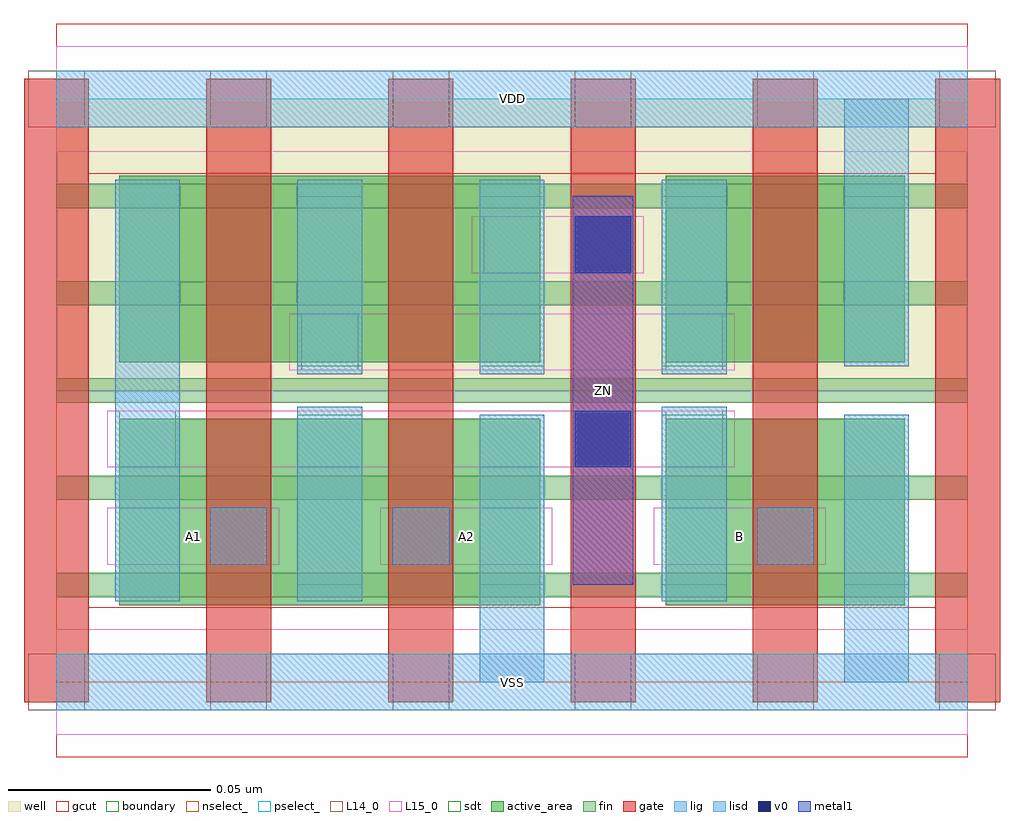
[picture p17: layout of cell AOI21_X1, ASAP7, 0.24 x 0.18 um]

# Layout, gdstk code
import gdstk
lib = gdstk.Library(unit=1e-6, precision=2.5e-10)
def R(c, l, rs):  # rectangles x0, y0, x1, y1
    for r in rs: c.add(gdstk.rectangle(r[:2], r[2:], *l))
def A(c, l, x, y, w, h, nx, ny, dx, dy):  # array of equal rectangles
    R(c, l, [(x+i*dx, y+j*dy, x+i*dx+w, y+j*dy+h) for i in range(nx) for j in range(ny)])
well = (1, 0)
fin = (2, 0)
gate = (7, 0)
gcut = (10, 0)
active_area = (11, 0)
nselect_ = (12, 0)
pselect_ = (13, 0)
L14_0 = (14, 0)
L15_0 = (15, 0)
lig = (16, 0)
lisd = (17, 0)
v0 = (18, 0)
metal1 = (19, 0)
sdt = (88, 0)
boundary = (100, 0)

aoi21_x1 = lib.new_cell('AOI21_X1')
R(aoi21_x1, well, [(0,0.072,0.225,0.144)])
A(aoi21_x1, fin, 0, 0.021, 0.225, 0.006, 1, 5, 0, 0.024)
A(aoi21_x1, gate, -0.008, -0.005, 0.016, 0.154, 6, 1, 0.045, 0)
R(aoi21_x1, gcut, [(0,-0.0185,0.225,0.0185), (-0.008,-0.005,0.008,0.149), (0.217,-0.005,0.233,0.149), (0,0.1255,0.225,0.1625)])
R(aoi21_x1, active_area, [(0.0155,0.019,0.0745,0.065), (0.0605,0.019,0.1195,0.065), (0.1505,0.019,0.2095,0.065), (0.0155,0.079,0.0745,0.125), (0.0605,0.079,0.1195,0.125), (0.1505,0.079,0.2095,0.125)])
R(aoi21_x1, nselect_, [(0,0,0.225,0.072)])
R(aoi21_x1, pselect_, [(0,0.072,0.225,0.144)])
A(aoi21_x1, L14_0, -0.007, -0.007, 0.014, 0.014, 6, 2, 0.045, 0.144)
R(aoi21_x1, L14_0, [(0.038,0.029,0.052,0.043), (0.083,0.029,0.097,0.043), (0.173,0.029,0.187,0.043), (0.0155,0.053,0.0295,0.067), (0.1505,0.053,0.1645,0.067), (0.0605,0.077,0.0745,0.091), (0.1505,0.077,0.1645,0.091), (0.1055,0.101,0.1195,0.115)])
A(aoi21_x1, L15_0, 0.0125, 0.029, 0.0425, 0.014, 3, 1, 0.0675, 0)
R(aoi21_x1, L15_0, [(0,-0.013,0.225,0.013), (0.0125,0.053,0.1675,0.067), (0.0575,0.077,0.1675,0.091), (0.1025,0.101,0.145,0.115), (0,0.131,0.225,0.157)])
R(aoi21_x1, lig, [(0,-0.007,0.225,0.007), (0.038,0.029,0.052,0.043), (0.083,0.029,0.097,0.043), (0.173,0.029,0.187,0.043), (0,0.137,0.225,0.151)])
A(aoi21_x1, lisd, 0.0595, 0.076, 0.016, 0.048, 3, 1, 0.045, 0)
R(aoi21_x1, lisd, [(0.1045,0,0.1205,0.066), (0.1945,0,0.2105,0.066), (0.0145,0.02,0.0305,0.124), (0.0595,0.02,0.0755,0.068), (0.0595,0.02,0.0755,0.068), (0.1495,0.02,0.1655,0.068), (0.0595,0.076,0.0755,0.124), (0.1945,0.078,0.2105,0.144)])
R(aoi21_x1, v0, [(0.128,0.053,0.142,0.067), (0.128,0.101,0.142,0.115)])
R(aoi21_x1, metal1, [(0.1275,0.024,0.1425,0.12)])
A(aoi21_x1, sdt, 0.0595, 0.024, 0.016, 0.042, 4, 2, 0.045, 0.054)
R(aoi21_x1, sdt, [(0.0145,0.02,0.0305,0.124), (0.0595,0.024,0.0755,0.066), (0.0595,0.078,0.0755,0.12)])
R(aoi21_x1, boundary, [(0,0,0.225,0.144)])
aoi21_x1.add(gdstk.Label('VDD', (0.1125,0.144), layer=1, texttype=251))
aoi21_x1.add(gdstk.Label('VSS', (0.1125,0), layer=3, texttype=251))
aoi21_x1.add(gdstk.Label('A1', (0.0338,0.036), layer=15, texttype=251))
aoi21_x1.add(gdstk.Label('A2', (0.1013,0.036), layer=15, texttype=251))
aoi21_x1.add(gdstk.Label('B', (0.1688,0.036), layer=15, texttype=251))
aoi21_x1.add(gdstk.Label('VSS', (0.1125,0), layer=15, texttype=251))
aoi21_x1.add(gdstk.Label('VDD', (0.1125,0.144), layer=15, texttype=251))
aoi21_x1.add(gdstk.Label('ZN', (0.135,0.072), layer=19, texttype=251))

lib.write_gds('AOI21_X1.gds')
